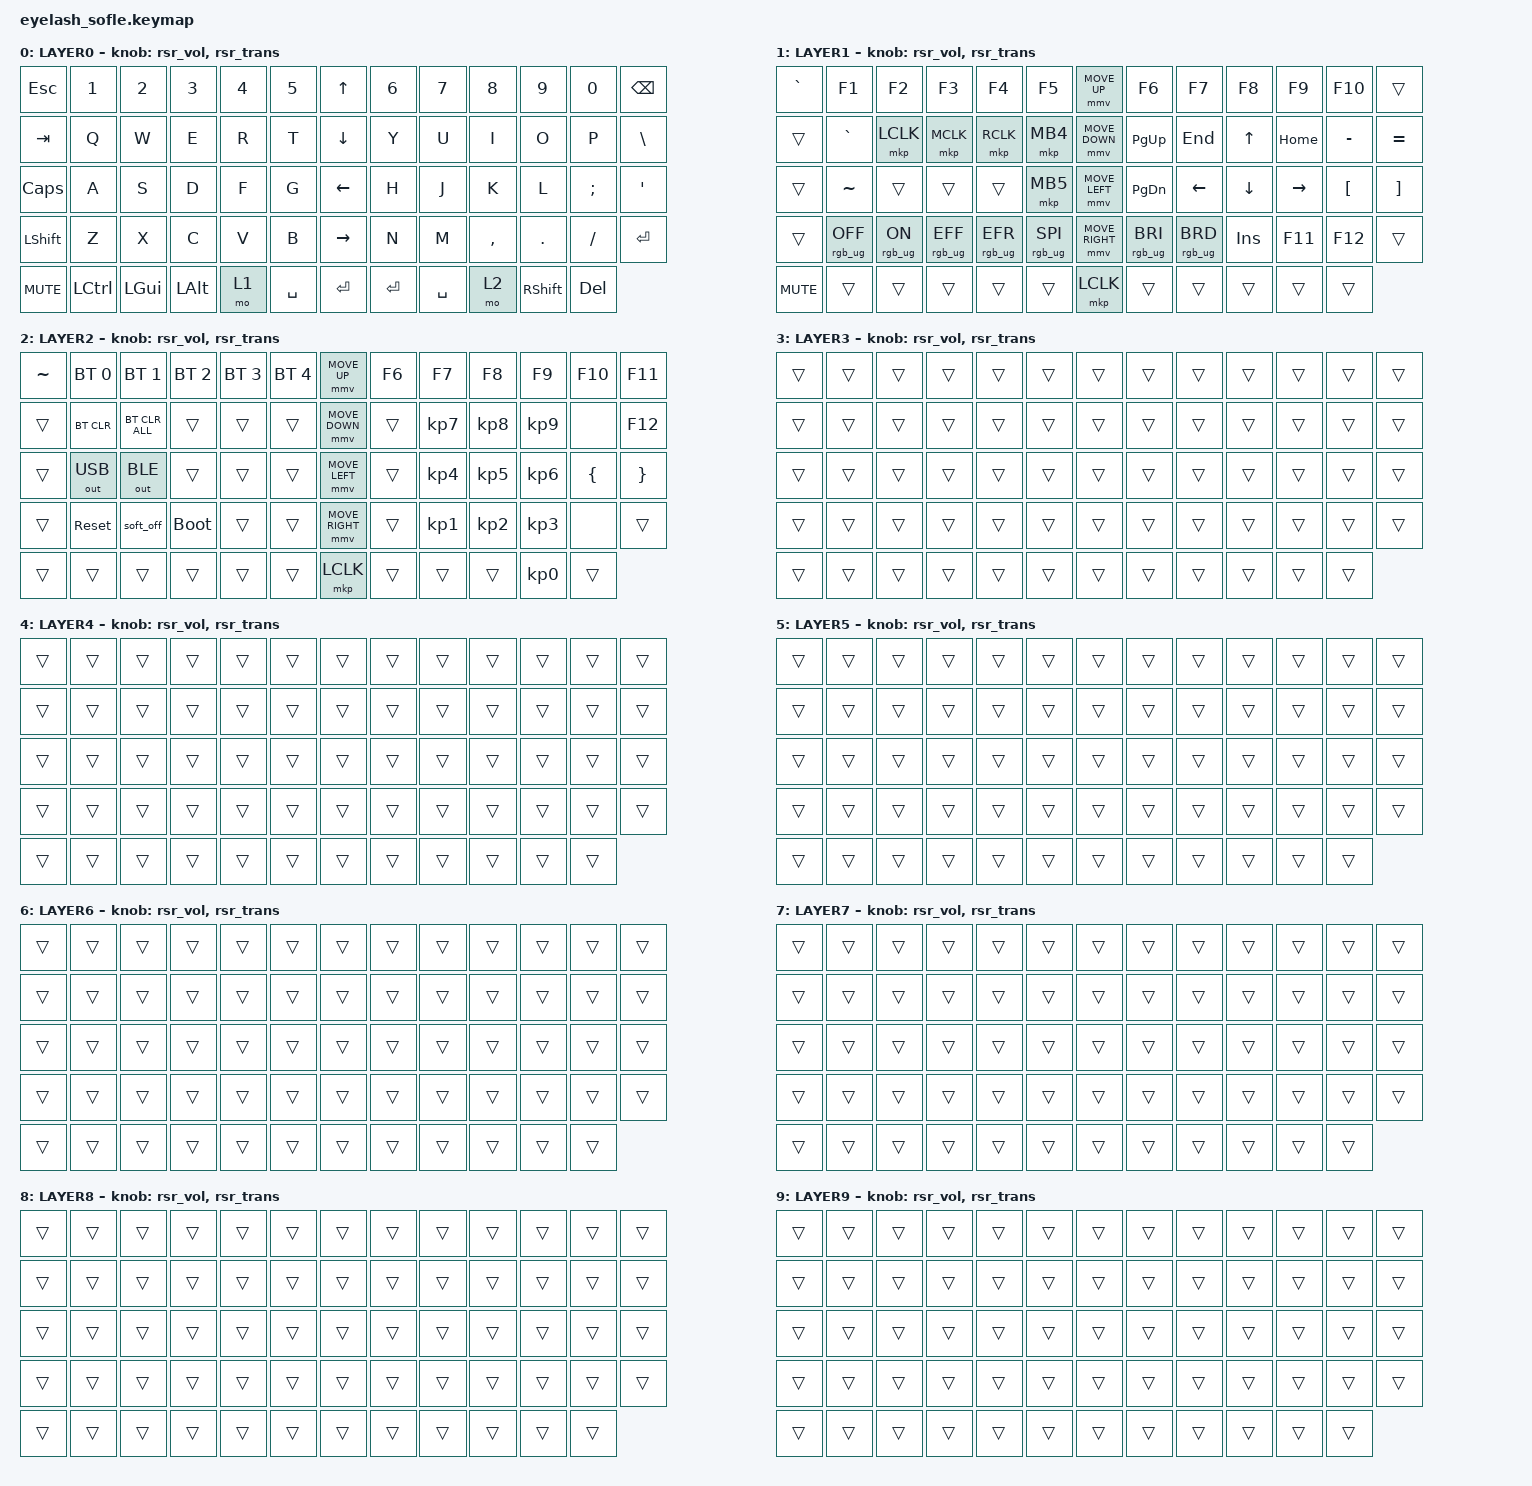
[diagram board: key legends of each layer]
#define ZMK_POINTING_DEFAULT_MOVE_VAL 1200  // 600
#define ZMK_POINTING_DEFAULT_SCRL_VAL 25   // 10

#include <input/processors.dtsi>
#include <zephyr/dt-bindings/input/input-event-codes.h>
#include <behaviors/runtime-sensor-rotate.dtsi>
#include <behaviors.dtsi>
#include <dt-bindings/zmk/bt.h>
#include <dt-bindings/zmk/keys.h>
#include <dt-bindings/zmk/outputs.h>
#include <dt-bindings/zmk/pointing.h>
#include <dt-bindings/zmk/rgb.h>

&mmv_input_listener { input-processors = <&zip_xy_scaler 2 1>; };

&msc_input_listener { input-processors = <&zip_scroll_scaler 2 1>; };

&msc {
    acceleration-exponent = <1>;      // 0
    time-to-max-speed-ms = <100>;       // 300
    delay-ms = <0>;                   // 0
};

&mmv {
    time-to-max-speed-ms = <500>;
    acceleration-exponent = <1>;
    trigger-period-ms = <16>;
};

&soft_off { hold-time-ms = <2000>; };

/ {
    scroll_encoder: scroll_encoder {
        compatible = "zmk,behavior-sensor-rotate";
        #sensor-binding-cells = <0>;
        bindings = <&msc SCRL_DOWN>, <&msc SCRL_UP>;

        tap-ms = <100>;
    };

    behaviors {
        rsr_vol: rsr_vol {
            compatible = "zmk,behavior-runtime-sensor-rotate";
            #sensor-binding-cells = <0>;
            tap-ms = <5>;
            cw-binding = <&kp C_VOL_UP>;
            ccw-binding = <&kp C_VOL_DN>;
        };

        rsr_trans: rsr_trans {
            compatible = "zmk,behavior-runtime-sensor-rotate";
            #sensor-binding-cells = <0>;
            tap-ms = <0>;
        };
    };

    combos {
        compatible = "zmk,combos";

        softoff {
            bindings = <&soft_off>;
            key-positions = <14 28 40>;
        };
    };

    macros {
        
    };

    keymap {
        compatible = "zmk,keymap";

        layer0 {
            bindings = <
&kp ESC     &kp N1     &kp N2        &kp N3        &kp N4  &kp N5       &kp UP_ARROW     &kp N6     &kp N7     &kp N8     &kp N9           &kp N0      &kp BACKSPACE
&kp TAB     &kp Q      &kp W         &kp E         &kp R   &kp T        &kp DOWN_ARROW   &kp Y      &kp U      &kp I      &kp O            &kp P       &kp BSLH
&kp CAPS    &kp A      &kp S         &kp D         &kp F   &kp G        &kp LEFT_ARROW   &kp H      &kp J      &kp K      &kp L            &kp SEMI    &kp APOS
&kp LSHFT   &kp Z      &kp X         &kp C         &kp V   &kp B        &kp RIGHT_ARROW  &kp N      &kp M      &kp COMMA  &kp DOT          &kp FSLH    &kp ENTER
&kp C_MUTE  &kp LCTRL  &kp LEFT_GUI  &kp LEFT_ALT  &mo 1   &kp SPACE    &kp ENTER        &kp ENTER  &kp SPACE  &mo 2      &kp RIGHT_SHIFT  &kp DELETE
            >;

            sensor-bindings = <&rsr_vol &rsr_trans>;
            display-name = "LAYER0";
        };

        layer_1 {
            bindings = <
&kp GRAVE   &kp F1           &kp F2          &kp F3           &kp F4           &kp F5             &mmv MOVE_UP     &kp F6           &kp F7           &kp F8      &kp F9     &kp F10           &trans
&trans      &kp GRAVE        &mkp LCLK       &mkp MCLK        &mkp RCLK        &mkp MB4           &mmv MOVE_DOWN   &kp PG_UP        &kp END          &kp UP      &kp HOME   &kp MINUS         &kp EQUAL
&trans      &kp TILDE        &trans          &trans           &trans           &mkp MB5           &mmv MOVE_LEFT   &kp PG_DN        &kp LEFT         &kp DOWN    &kp RIGHT  &kp LEFT_BRACKET  &kp RIGHT_BRACKET
&trans      &rgb_ug RGB_OFF  &rgb_ug RGB_ON  &rgb_ug RGB_EFF  &rgb_ug RGB_EFR  &rgb_ug RGB_SPI    &mmv MOVE_RIGHT  &rgb_ug RGB_BRI  &rgb_ug RGB_BRD  &kp INSERT  &kp F11    &kp F12           &trans
&kp C_MUTE  &trans           &trans          &trans           &trans           &trans             &mkp LCLK        &trans           &trans           &trans      &trans     &trans
            >;

            sensor-bindings = <&rsr_vol &rsr_trans>;
            display-name = "LAYER1";
        };

        layer_2 {
            bindings = <
&kp TILDE  &bt BT_SEL 0  &bt BT_SEL 1    &bt BT_SEL 2  &bt BT_SEL 3  &bt BT_SEL 4    &mmv MOVE_UP     &kp F6  &kp F7           &kp F8           &kp F9           &kp F10   &kp F11
&trans     &bt BT_CLR    &bt BT_CLR_ALL  &trans        &trans        &trans          &mmv MOVE_DOWN   &trans  &kp KP_NUMBER_7  &kp KP_NUMBER_8  &kp KP_NUMBER_9  &none     &kp F12
&trans     &out OUT_USB  &out OUT_BLE    &trans        &trans        &trans          &mmv MOVE_LEFT   &trans  &kp KP_NUMBER_4  &kp KP_NUMBER_5  &kp KP_NUMBER_6  &kp LBRC  &kp RBRC
&trans     &sys_reset    &soft_off       &bootloader   &trans        &trans          &mmv MOVE_RIGHT  &trans  &kp KP_NUMBER_1  &kp KP_NUMBER_2  &kp KP_NUMBER_3  &none     &trans
&trans     &trans        &trans          &trans        &trans        &trans          &mkp LCLK        &trans  &trans           &trans           &kp KP_NUMBER_0  &trans
            >;

            display-name = "LAYER2";
            sensor-bindings = <&rsr_vol &rsr_trans>;
        };

        layer_3 {
            bindings = <
&trans  &trans  &trans  &trans  &trans  &trans    &trans  &trans  &trans  &trans  &trans  &trans  &trans
&trans  &trans  &trans  &trans  &trans  &trans    &trans  &trans  &trans  &trans  &trans  &trans  &trans
&trans  &trans  &trans  &trans  &trans  &trans    &trans  &trans  &trans  &trans  &trans  &trans  &trans
&trans  &trans  &trans  &trans  &trans  &trans    &trans  &trans  &trans  &trans  &trans  &trans  &trans
&trans  &trans  &trans  &trans  &trans  &trans    &trans  &trans  &trans  &trans  &trans  &trans
            >;

            display-name = "LAYER3";
            sensor-bindings = <&rsr_vol &rsr_trans>;
        };

        layer_4 {
            bindings = <
&trans  &trans  &trans  &trans  &trans  &trans    &trans  &trans  &trans  &trans  &trans  &trans  &trans
&trans  &trans  &trans  &trans  &trans  &trans    &trans  &trans  &trans  &trans  &trans  &trans  &trans
&trans  &trans  &trans  &trans  &trans  &trans    &trans  &trans  &trans  &trans  &trans  &trans  &trans
&trans  &trans  &trans  &trans  &trans  &trans    &trans  &trans  &trans  &trans  &trans  &trans  &trans
&trans  &trans  &trans  &trans  &trans  &trans    &trans  &trans  &trans  &trans  &trans  &trans
            >;

            display-name = "LAYER4";
            sensor-bindings = <&rsr_vol &rsr_trans>;
        };

        layer_5 {
            bindings = <
&trans  &trans  &trans  &trans  &trans  &trans    &trans  &trans  &trans  &trans  &trans  &trans  &trans
&trans  &trans  &trans  &trans  &trans  &trans    &trans  &trans  &trans  &trans  &trans  &trans  &trans
&trans  &trans  &trans  &trans  &trans  &trans    &trans  &trans  &trans  &trans  &trans  &trans  &trans
&trans  &trans  &trans  &trans  &trans  &trans    &trans  &trans  &trans  &trans  &trans  &trans  &trans
&trans  &trans  &trans  &trans  &trans  &trans    &trans  &trans  &trans  &trans  &trans  &trans
            >;

            display-name = "LAYER5";
            sensor-bindings = <&rsr_vol &rsr_trans>;
        };

        layer_6 {
            bindings = <
&trans  &trans  &trans  &trans  &trans  &trans    &trans  &trans  &trans  &trans  &trans  &trans  &trans
&trans  &trans  &trans  &trans  &trans  &trans    &trans  &trans  &trans  &trans  &trans  &trans  &trans
&trans  &trans  &trans  &trans  &trans  &trans    &trans  &trans  &trans  &trans  &trans  &trans  &trans
&trans  &trans  &trans  &trans  &trans  &trans    &trans  &trans  &trans  &trans  &trans  &trans  &trans
&trans  &trans  &trans  &trans  &trans  &trans    &trans  &trans  &trans  &trans  &trans  &trans
            >;

            display-name = "LAYER6";
            sensor-bindings = <&rsr_vol &rsr_trans>;
        };

        layer_7 {
            bindings = <
&trans  &trans  &trans  &trans  &trans  &trans    &trans  &trans  &trans  &trans  &trans  &trans  &trans
&trans  &trans  &trans  &trans  &trans  &trans    &trans  &trans  &trans  &trans  &trans  &trans  &trans
&trans  &trans  &trans  &trans  &trans  &trans    &trans  &trans  &trans  &trans  &trans  &trans  &trans
&trans  &trans  &trans  &trans  &trans  &trans    &trans  &trans  &trans  &trans  &trans  &trans  &trans
&trans  &trans  &trans  &trans  &trans  &trans    &trans  &trans  &trans  &trans  &trans  &trans
            >;

            display-name = "LAYER7";
            sensor-bindings = <&rsr_vol &rsr_trans>;
        };

        layer_8 {
            bindings = <
&trans  &trans  &trans  &trans  &trans  &trans    &trans  &trans  &trans  &trans  &trans  &trans  &trans
&trans  &trans  &trans  &trans  &trans  &trans    &trans  &trans  &trans  &trans  &trans  &trans  &trans
&trans  &trans  &trans  &trans  &trans  &trans    &trans  &trans  &trans  &trans  &trans  &trans  &trans
&trans  &trans  &trans  &trans  &trans  &trans    &trans  &trans  &trans  &trans  &trans  &trans  &trans
&trans  &trans  &trans  &trans  &trans  &trans    &trans  &trans  &trans  &trans  &trans  &trans
            >;

            display-name = "LAYER8";
            sensor-bindings = <&rsr_vol &rsr_trans>;
        };

        layer_9 {
            bindings = <
&trans  &trans  &trans  &trans  &trans  &trans    &trans  &trans  &trans  &trans  &trans  &trans  &trans
&trans  &trans  &trans  &trans  &trans  &trans    &trans  &trans  &trans  &trans  &trans  &trans  &trans
&trans  &trans  &trans  &trans  &trans  &trans    &trans  &trans  &trans  &trans  &trans  &trans  &trans
&trans  &trans  &trans  &trans  &trans  &trans    &trans  &trans  &trans  &trans  &trans  &trans  &trans
&trans  &trans  &trans  &trans  &trans  &trans    &trans  &trans  &trans  &trans  &trans  &trans
            >;

            display-name = "LAYER9";
            sensor-bindings = <&rsr_vol &rsr_trans>;
        };
    };
};
